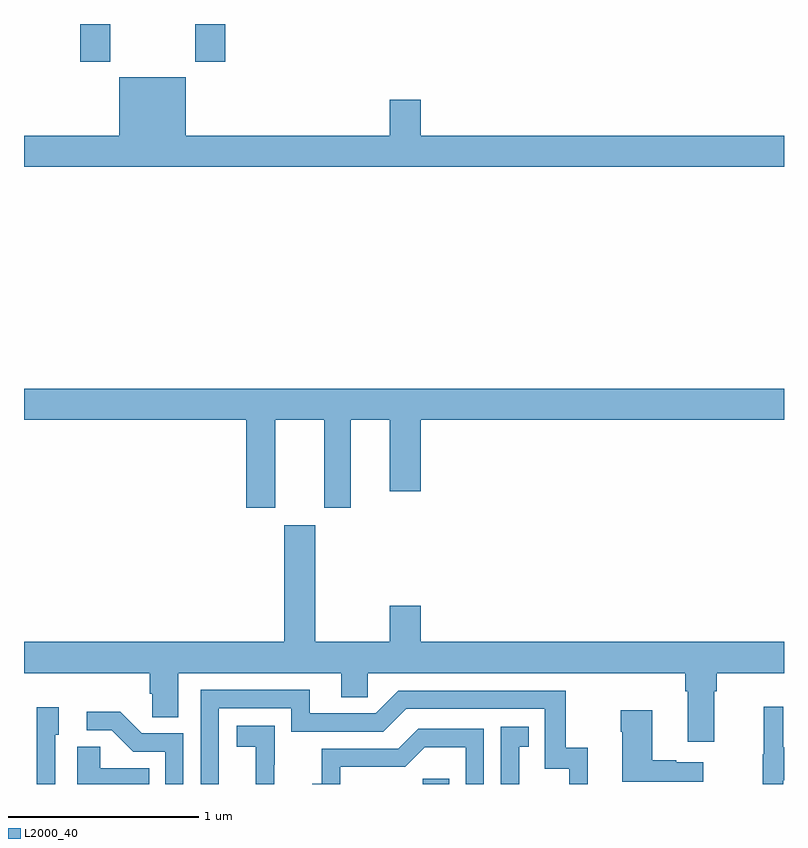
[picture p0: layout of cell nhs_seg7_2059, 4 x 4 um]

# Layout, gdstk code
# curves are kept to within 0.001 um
import gdstk
lib = gdstk.Library(unit=1e-6, precision=1e-09)
def R(c, l, rs):  # rectangles x0, y0, x1, y1
    for r in rs: c.add(gdstk.rectangle(r[:2], r[2:], *l))
def P(c, l, *ps):  # polygons
    for p in ps: c.add(gdstk.Polygon(p, *l))
L2000_40 = (2000, 40)

nhs_seg7_2059 = lib.new_cell('nhs_seg7_2059')
R(nhs_seg7_2059, L2000_40, [(249.099,1032,249.239,1032.027), (247.295,1035.801,247.455,1036), (247.9,1035.801,248.06,1036)])
P(nhs_seg7_2059, L2000_40, [(251,1035.412),(249.088,1035.412),(249.088,1035.601),(248.924,1035.601),(248.924,1035.412),(247.852,1035.412),(247.852,1035.721),(247.502,1035.721),(247.502,1035.412),(247,1035.412),(247,1035.248),(251,1035.248)],
  [(248.323,1033.916),(248.579,1033.916),(248.579,1033.455),(248.719,1033.455),(248.719,1033.916),(248.924,1033.916),(248.924,1033.542),(249.088,1033.542),(249.088,1033.916),(251,1033.916),(251,1034.08),(247,1034.08),(247,1033.916),(248.171,1033.916),(248.171,1033.455),(248.323,1033.455)],
  [(250.633,1032.488),(250.646,1032.488),(250.646,1032.584),(251,1032.584),(251,1032.748),(249.088,1032.748),(249.088,1032.937),(248.924,1032.937),(248.924,1032.748),(248.533,1032.748),(248.533,1033.363),(248.369,1033.363),(248.369,1032.748),(247,1032.748),(247,1032.584),(247.661,1032.584),(247.661,1032.475),(247.674,1032.475),(247.674,1032.352),(247.813,1032.352),(247.813,1032.584),(248.669,1032.584),(248.669,1032.457),(248.808,1032.457),(248.808,1032.584),(250.481,1032.584),(250.481,1032.488),(250.493,1032.488),(250.493,1032.222),(250.633,1032.222)],
  [(248.025,1032.399),(248.406,1032.399),(248.406,1032.276),(248.892,1032.276),(249.012,1032.396),(249.741,1032.396),(249.741,1032.081),(249.87,1032.081),(249.87,1032),(249.968,1032),(249.968,1032.19),(249.85,1032.19),(249.85,1032.492),(248.97,1032.492),(248.85,1032.372),(248.503,1032.372),(248.503,1032.495),(247.929,1032.495),(247.929,1032),(248.025,1032)],
  [(250.997,1032.019),(251,1032.019),(251,1032.193),(250.997,1032.193),(250.997,1032.406),(250.894,1032.406),(250.894,1032.156),(250.887,1032.156),(250.887,1032),(250.997,1032)],
  [(247.164,1032.258),(247.183,1032.258),(247.183,1032.403),(247.068,1032.403),(247.068,1032),(247.164,1032)],
  [(250.576,1032.115),(250.433,1032.115),(250.433,1032.125),(250.306,1032.125),(250.306,1032.388),(250.141,1032.388),(250.141,1032.275),(250.148,1032.275),(250.148,1032.011),(250.576,1032.011)],
  [(247.839,1032.267),(247.62,1032.267),(247.507,1032.38),(247.329,1032.38),(247.329,1032.282),(247.463,1032.282),(247.574,1032.171),(247.743,1032.171),(247.743,1032),(247.839,1032)],
  [(248.318,1032.101),(248.319,1032.101),(248.319,1032.307),(248.121,1032.307),(248.121,1032.197),(248.219,1032.197),(248.219,1032),(248.318,1032)],
  [(249.607,1032.195),(249.656,1032.195),(249.656,1032.301),(249.51,1032.301),(249.51,1032),(249.607,1032)],
  [(248.664,1032.09),(249.006,1032.09),(249.11,1032.194),(249.324,1032.194),(249.324,1032),(249.42,1032),(249.42,1032.291),(249.074,1032.291),(248.969,1032.186),(248.566,1032.186),(248.566,1032.001),(248.517,1032),(248.664,1032)],
  [(247.658,1032.082),(247.401,1032.082),(247.401,1032.197),(247.28,1032.197),(247.28,1032),(247.658,1032)])

lib.write_gds('nhs_seg7_2059.gds')
